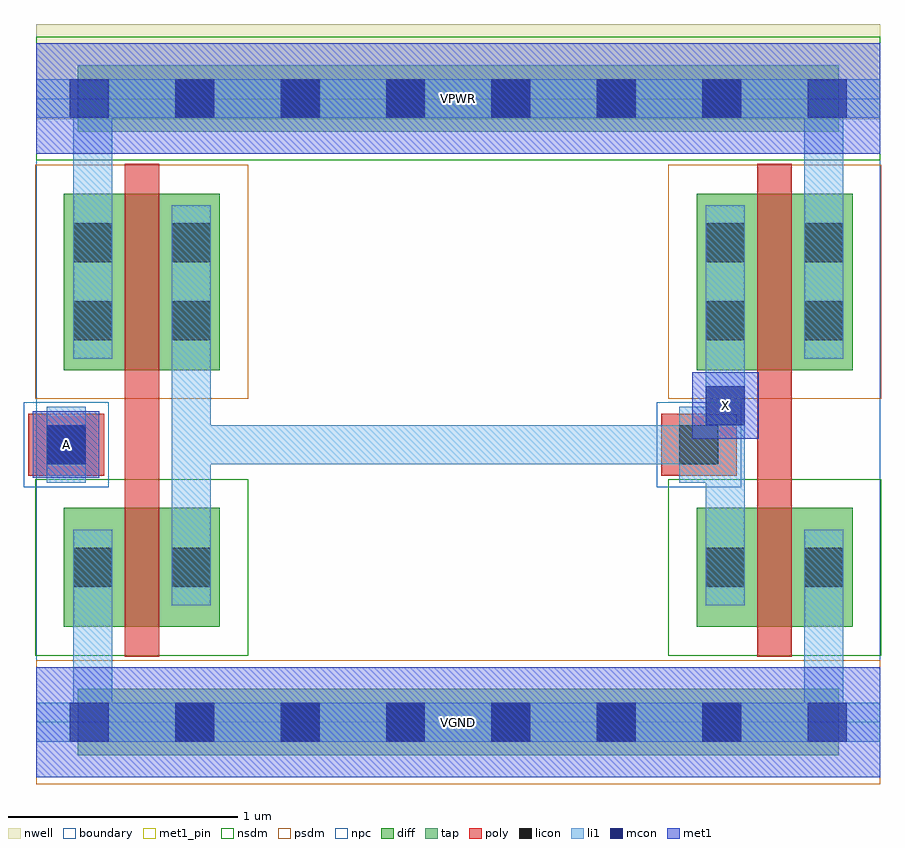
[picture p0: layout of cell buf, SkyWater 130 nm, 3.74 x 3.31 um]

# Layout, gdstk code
import gdstk
lib = gdstk.Library(unit=1e-6, precision=1e-09)
def R(c, l, rs):  # rectangles x0, y0, x1, y1
    for r in rs: c.add(gdstk.rectangle(r[:2], r[2:], *l))
def A(c, l, x, y, w, h, nx, ny, dx, dy):  # array of equal rectangles
    R(c, l, [(x+i*dx, y+j*dy, x+i*dx+w, y+j*dy+h) for i in range(nx) for j in range(ny)])
nwell = (64, 20)
diff = (65, 20)
tap = (65, 44)
poly = (66, 20)
licon = (66, 44)
li1 = (67, 20)
mcon = (67, 44)
met1_pin = (68, 16)
met1 = (68, 20)
nsdm = (93, 44)
psdm = (94, 20)
npc = (95, 20)
boundary = (235, 4)

buf = lib.new_cell('buf')
R(buf, nwell, [(0,2.63,3.68,3.045)])
R(buf, diff, [(0.12,0.415,0.8,0.935), (2.88,0.415,3.56,0.935), (0.12,1.535,0.8,2.305), (2.88,1.535,3.56,2.305)])
R(buf, tap, [(0.18,-0.145,3.5,0.145), (0.18,2.575,3.5,2.865)])
R(buf, poly, [(0.385,0.285,0.535,2.435), (3.145,0.285,3.295,2.435), (-0.035,1.075,0.295,1.345), (2.725,1.075,3.055,1.345)])
A(buf, licon, 0.605, -0.085, 0.17, 0.17, 6, 2, 0.46, 2.72)
R(buf, licon, [(0.16,0.59,0.33,0.76), (0.59,0.59,0.76,0.76), (2.92,0.59,3.09,0.76), (3.35,0.59,3.52,0.76), (0.045,1.125,0.215,1.295), (2.805,1.125,2.975,1.295), (0.16,1.665,0.33,1.835), (0.59,1.665,0.76,1.835), (2.92,1.665,3.09,1.835), (3.35,1.665,3.52,1.835), (0.16,2.005,0.33,2.175), (0.59,2.005,0.76,2.175), (2.92,2.005,3.09,2.175), (3.35,2.005,3.52,2.175)])
R(buf, li1, [(0,-0.085,3.68,0.085), (0.16,-0.085,0.33,0.84), (3.35,-0.085,3.52,0.84), (0.16,0.51,0.33,0.84), (0.59,0.51,0.76,0.84), (0.59,0.51,0.76,2.255), (2.92,0.51,3.09,0.84), (2.92,0.51,3.09,2.255), (3.35,0.51,3.52,0.84), (0.045,1.045,0.215,1.375), (2.805,1.045,2.975,1.375), (0.59,1.125,2.975,1.295), (0.16,1.585,0.33,2.255), (0.16,1.585,0.33,2.805), (0.59,1.585,0.76,2.255), (2.92,1.585,3.09,2.255), (3.35,1.585,3.52,2.255), (3.35,1.585,3.52,2.805), (0,2.635,3.68,2.805)])
A(buf, mcon, 0.145, -0.085, 0.17, 0.17, 8, 2, 0.46, 2.72)
R(buf, mcon, [(0.045,1.125,0.215,1.295), (2.92,1.295,3.09,1.465)])
R(buf, met1_pin, [(0,-0.24,3.68,0.24), (-0.015,1.065,0.275,1.355), (2.86,1.235,3.15,1.525), (0,2.48,3.68,2.96)])
R(buf, met1, [(0,-0.24,3.68,0.24), (-0.015,1.065,0.275,1.355), (2.86,1.235,3.15,1.525), (0,2.48,3.68,2.96)])
R(buf, nsdm, [(-0.005,0.29,0.925,1.06), (2.755,0.29,3.685,1.06), (0,2.45,3.68,2.99)])
R(buf, psdm, [(0,-0.27,3.68,0.27), (-0.005,1.41,0.925,2.43), (2.755,1.41,3.685,2.43)])
R(buf, npc, [(-0.055,1.025,0.315,1.395), (2.705,1.025,3.075,1.395)])
R(buf, boundary, [(0,0,3.68,2.72)])
buf.add(gdstk.Label('A', (0.13,1.21), layer=68, texttype=5))
buf.add(gdstk.Label('X', (3.005,1.38), layer=68, texttype=5))
buf.add(gdstk.Label('VPWR', (1.84,2.72), layer=68, texttype=5))
buf.add(gdstk.Label('VGND', (1.84,0), layer=68, texttype=5))
buf.add(gdstk.Label('A', (0.13,1.21), layer=68, texttype=16))
buf.add(gdstk.Label('X', (3.005,1.38), layer=68, texttype=16))
buf.add(gdstk.Label('VPWR', (1.84,2.72), layer=68, texttype=16))
buf.add(gdstk.Label('VGND', (1.84,0), layer=68, texttype=16))

lib.write_gds('buf.gds')
